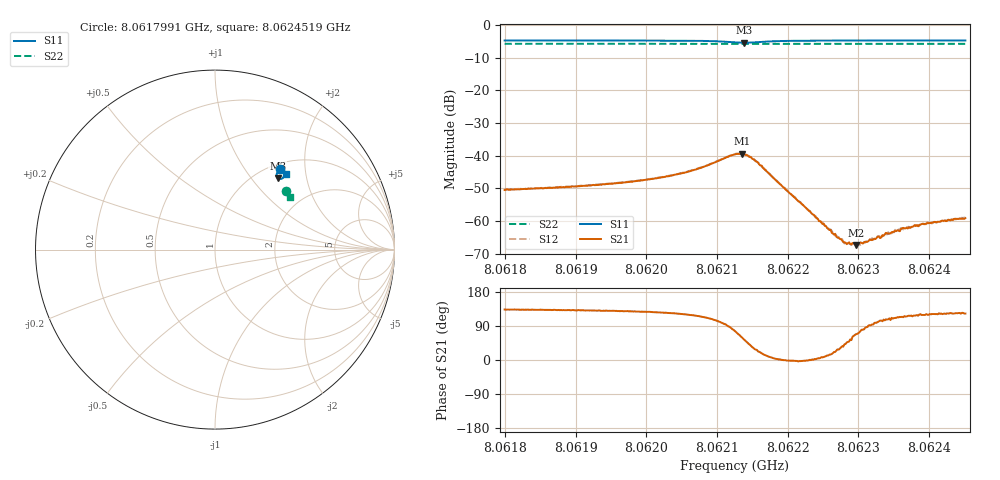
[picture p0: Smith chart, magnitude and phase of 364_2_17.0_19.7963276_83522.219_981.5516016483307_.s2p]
#  HZ  S  RI  R  50.00
! Rohde & Schwarz Vector Network Analyzer
! Rohde-Schwarz,ZNB20-2Port,1311601062101988,3.16
! Created: UTC 3/20/2024, 11:08:21 PM
! freq[Hz]  re:S11  im:S11  re:S21  im:S21  re:S12  im:S12  re:S22  im:S22
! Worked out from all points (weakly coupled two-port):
!   401 points, 8.0617991 GHz to 8.0624519 GHz, reference 50 ohm
!   highest |S21| = -39.41 dB at 8.0621353 GHz (marker M1); lowest = -67.3 dB at 8.0622969 GHz (marker M2)
!   lowest |S11| = -5.5 dB at 8.0621386 GHz (marker M3), VSWR 3.26, Z = 61.8 + j68.6 ohm
!   |S11| at or under -10 dB: nowhere
!   |S22| runs from -5.9 to -5.8 dB; largest |S21 - S12| = 0.00073
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8.06179912e9  0.3643 0.4464  -0.00205 0.00217  -0.00191 0.0023  0.3971 0.3239
8.06190846e9  0.3717 0.4397  -0.00226 0.00257  -0.00214 0.00274  0.4013 0.3182
8.06196722e9  0.376 0.4354  -0.00242 0.00302  -0.00225 0.00319  0.4033 0.3152
8.06201781e9  0.3802 0.43  -0.00264 0.00373  -0.00245 0.00393  0.4053 0.3127
8.0620684e9  0.3846 0.4203  -0.0028 0.00539  -0.0025 0.00562  0.4072 0.3097
8.06212552e9  0.3665 0.3937  0.00245 0.0101  0.00318 0.0101  0.4079 0.3062
8.06213531e9  0.3537 0.396  0.00539 0.00925  0.00593 0.00885  0.4077 0.3059
8.06213858e9  0.3499 0.3987  0.00628 0.00847  0.00671 0.00813  0.4077 0.3059
8.06214837e9  0.3432 0.4105  0.00753 0.00565  0.00774 0.00537  0.4078 0.3062
8.06215816e9  0.344 0.4215  0.00722 0.00302  0.00737 0.00257  0.4084 0.3061
8.06223486e9  0.3724 0.4347  0.00128 3.31e-05  0.00128 -6.47e-05  0.4123 0.3027
8.06226587e9  0.3774 0.4326  0.000577 0.000221  0.000637 0.000182  0.4137 0.3009
8.06228056e9  0.3792 0.4317  0.000353 0.000311  0.000361 0.000274  0.4141 0.3003
8.06228709e9  0.3799 0.4313  0.000311 0.000355  0.000303 0.000338  0.4144 0.3001
8.06229688e9  0.381 0.4307  0.000161 0.000398  0.000172 0.000374  0.4148 0.2995
8.06230014e9  0.3813 0.4304  0.000147 0.000418  0.000179 0.000401  0.415 0.2993
8.06231646e9  0.383 0.4294  -1.29e-05 0.00052  1.92e-05 0.000524  0.4155 0.2984
8.06234421e9  0.3853 0.4278  -0.000218 0.000607  -0.000166 0.000592  0.4165 0.2969
8.0623589e9  0.3864 0.4268  -0.000281 0.000638  -0.000259 0.000692  0.417 0.2962
8.06239154e9  0.3889 0.4248  -0.00044 0.000795  -0.000427 0.000807  0.4184 0.2946
8.06243886e9  0.3921 0.4222  -0.000598 0.000896  -0.000543 0.00091  0.4198 0.2921
8.06245192e9  0.393 0.4215  -0.000596 0.000932  -0.000562 0.000994  0.4203 0.2913
